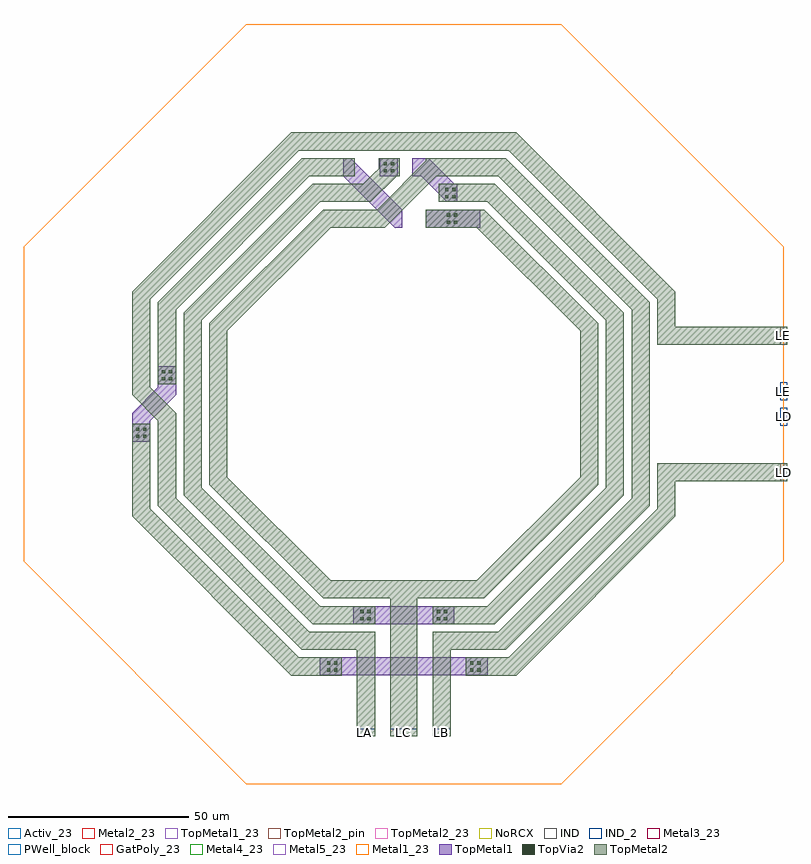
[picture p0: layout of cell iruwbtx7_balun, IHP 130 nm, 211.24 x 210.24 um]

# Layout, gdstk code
import gdstk
lib = gdstk.Library(unit=1e-6, precision=1e-09)
def R(c, l, rs):  # rectangles x0, y0, x1, y1
    for r in rs: c.add(gdstk.rectangle(r[:2], r[2:], *l))
def P(c, l, *ps):  # polygons
    for p in ps: c.add(gdstk.Polygon(p, *l))
Activ_23 = (1, 23)
GatPoly_23 = (5, 23)
Metal1_23 = (8, 23)
Metal2_23 = (10, 23)
IND = (27, 0)
IND_2 = (27, 2)
Metal3_23 = (30, 23)
PWell_block = (46, 21)
Metal4_23 = (50, 23)
Metal5_23 = (67, 23)
TopMetal1 = (126, 0)
TopMetal1_23 = (126, 23)
TopVia2 = (133, 0)
TopMetal2 = (134, 0)
TopMetal2_pin = (134, 2)
TopMetal2_23 = (134, 23)
NoRCX = (148, 0)

iruwbtx7_balun = lib.new_cell('iruwbtx7_balun')
P(iruwbtx7_balun, Activ_23, [(61.58,0),(0,61.58),(0,148.66),(61.58,210.24),(148.66,210.24),(210.24,148.66),(210.24,61.58),(148.66,0)])
P(iruwbtx7_balun, GatPoly_23, [(61.58,0),(0,61.58),(0,148.66),(61.58,210.24),(148.66,210.24),(210.24,148.66),(210.24,61.58),(148.66,0)])
P(iruwbtx7_balun, Metal1_23, [(61.58,0),(0,61.58),(0,148.66),(61.58,210.24),(148.66,210.24),(210.24,148.66),(210.24,61.58),(148.66,0)])
P(iruwbtx7_balun, Metal2_23, [(61.58,0),(0,61.58),(0,148.66),(61.58,210.24),(148.66,210.24),(210.24,148.66),(210.24,61.58),(148.66,0)])
P(iruwbtx7_balun, IND, [(61.58,0),(0,61.58),(0,148.66),(61.58,210.24),(148.66,210.24),(210.24,148.66),(210.24,61.58),(148.66,0)])
R(iruwbtx7_balun, IND_2, [(92.19,13.22,97.19,15.22), (101.39,13.22,108.89,15.22), (113.09,13.22,118.09,15.22), (209.24,99.07,211.24,104.07), (209.24,106.17,211.24,111.17)])
P(iruwbtx7_balun, Metal3_23, [(61.58,0),(0,61.58),(0,148.66),(61.58,210.24),(148.66,210.24),(210.24,148.66),(210.24,61.58),(148.66,0)])
P(iruwbtx7_balun, PWell_block, [(61.58,0),(0,61.58),(0,148.66),(61.58,210.24),(148.66,210.24),(210.24,148.66),(210.24,61.58),(148.66,0)])
P(iruwbtx7_balun, Metal4_23, [(61.58,0),(0,61.58),(0,148.66),(61.58,210.24),(148.66,210.24),(210.24,148.66),(210.24,61.58),(148.66,0)])
P(iruwbtx7_balun, Metal5_23, [(61.58,0),(0,61.58),(0,148.66),(61.58,210.24),(148.66,210.24),(210.24,148.66),(210.24,61.58),(148.66,0)])
R(iruwbtx7_balun, TopMetal1, [(81.96,30.02,128.31,35.02), (91.16,44.22,119.11,49.22), (111.245,153.9,126.245,158.9), (98.516,168.12,103.516,173.12), (107.44,168.12,111.808,173.12)])
P(iruwbtx7_balun, TopMetal1, [(102.59,153.9),(88.35,168.14),(88.35,173.12),(90.45,173.12),(104.67,158.9),(104.67,153.9)],
  [(30.02,94.645),(30.02,102.585),(37.14,109.705),(37.14,115.595),(42.14,115.595),(42.14,107.655),(35.02,100.535),(35.02,94.645)],
  [(117.05,161),(109.93,168.12),(109.04,168.12),(109.04,173.12),(112.01,173.12),(119.13,166),(119.99,166),(119.99,161)])
P(iruwbtx7_balun, TopMetal1_23, [(61.58,0),(0,61.58),(0,148.66),(61.58,210.24),(148.66,210.24),(210.24,148.66),(210.24,61.58),(148.66,0)])
R(iruwbtx7_balun, TopVia2, [(83.91,31.09,84.81,31.99), (85.87,31.09,86.77,31.99), (123.51,31.09,124.41,31.99), (125.47,31.09,126.37,31.99), (83.91,33.05,84.81,33.95), (85.87,33.05,86.77,33.95), (123.51,33.05,124.41,33.95), (125.47,33.05,126.37,33.95), (93.11,45.29,94.01,46.19), (95.07,45.29,95.97,46.19), (114.31,45.29,115.21,46.19), (116.27,45.29,117.17,46.19), (93.11,47.25,94.01,48.15), (95.07,47.25,95.97,48.15), (114.31,47.25,115.21,48.15), (116.27,47.25,117.17,48.15), (31.11,95.715,32.01,96.615), (33.07,95.715,33.97,96.615), (31.11,97.675,32.01,98.575), (33.07,97.675,33.97,98.575), (38.21,111.665,39.11,112.565), (40.17,111.665,41.07,112.565), (38.21,113.625,39.11,114.525), (40.17,113.625,41.07,114.525), (117.06,154.97,117.96,155.87), (119.02,154.97,119.92,155.87), (117.06,156.93,117.96,157.83), (119.02,156.93,119.92,157.83), (116.61,162.02,117.51,162.92), (118.57,162.02,119.47,162.92), (116.61,163.98,117.51,164.88), (118.57,163.98,119.47,164.88), (99.588,169.17,100.488,170.07), (101.548,169.17,102.448,170.07), (99.588,171.13,100.488,172.03), (101.548,171.13,102.448,172.03)])
R(iruwbtx7_balun, TopMetal2, [(100.54,51.32,109.74,56.32), (168.14,104.07,173.14,106.17), (84.065,153.9,99.065,158.9), (98.198,168.12,103.83,173.12), (111.192,168.12,115.56,173.12), (111.207,168.12,115.575,173.12)])
P(iruwbtx7_balun, TopMetal2, [(37.14,110.595),(37.14,133.295),(76.965,173.12),(91.53,173.12),(91.53,168.12),(79.045,168.12),(42.14,131.215),(42.14,110.595)],
  [(113.09,44.22),(113.09,49.22),(128.29,49.22),(161.04,81.97),(161.04,128.27),(128.29,161.02),(114.79,161.02),(114.79,166.02),(130.37,166.02),(166.04,130.35),(166.04,79.89),(130.37,44.22)],
  [(97.76,153.9),(97.76,158.9),(111.98,173.12),(114.08,173.12),(114.08,168.14),(99.84,153.9)],
  [(168.14,106.17),(168.14,131.215),(131.235,168.12),(112.625,168.12),(112.625,173.12),(133.315,173.12),(173.14,133.295),(173.14,106.17)],
  [(93.1,161.02),(93.1,166.02),(93.96,166.02),(101.06,173.12),(104.05,173.12),(104.05,168.14),(103.16,168.14),(96.04,161.02)],
  [(113.09,37.12),(113.09,42.12),(131.235,42.12),(168.14,79.025),(168.14,104.07),(173.14,104.07),(173.14,76.945),(133.315,37.12)],
  [(79.91,44.22),(44.24,79.89),(44.24,130.35),(79.91,166.02),(93.93,166.02),(93.93,161.02),(81.99,161.02),(49.24,128.27),(49.24,81.97),(81.99,49.22),(97.19,49.22),(97.19,44.22)],
  [(76.965,37.12),(37.14,76.945),(37.14,99.645),(42.14,99.645),(42.14,79.025),(79.045,42.12),(97.19,42.12),(97.19,37.12)],
  [(122.29,30.01),(122.29,35.01),(134.17,35.01),(175.24,76.08),(175.24,88.76),(180.24,88.76),(180.24,74),(136.25,30.01)],
  [(30.02,110.595),(30.02,136.24),(74.01,180.23),(136.25,180.23),(180.24,136.24),(180.24,121.48),(175.24,121.48),(175.24,134.16),(134.17,175.23),(76.09,175.23),(35.02,134.16),(35.02,110.595)],
  [(74.01,30.01),(30.02,74),(30.02,99.645),(35.02,99.645),(35.02,76.08),(76.09,35.01),(87.99,35.01),(87.99,30.01)],
  [(82.855,51.32),(51.35,82.825),(51.35,127.395),(82.855,158.9),(99.033,158.9),(99.033,153.9),(84.935,153.9),(56.35,125.315),(56.35,84.905),(84.935,56.32),(100.54,56.32),(100.54,51.32)],
  [(109.74,51.32),(109.74,56.32),(125.345,56.32),(153.93,84.905),(153.93,125.315),(125.345,153.9),(111.247,153.9),(111.247,158.9),(127.425,158.9),(158.93,127.395),(158.93,82.825),(127.425,51.32)],
  [(37.14,99.645),(37.14,100.535),(30.02,107.655),(30.02,110.595),(35.02,110.595),(35.02,109.735),(42.14,102.615),(42.14,99.645)])
R(iruwbtx7_balun, TopMetal2_pin, [(92.19,13.22,97.19,15.22), (101.39,13.22,108.89,15.22), (113.09,13.22,118.09,15.22), (209.24,83.76,211.24,88.76), (209.24,121.48,211.24,126.48)])
P(iruwbtx7_balun, TopMetal2_23, [(61.58,0),(0,61.58),(0,148.66),(61.58,210.24),(148.66,210.24),(210.24,148.66),(210.24,61.58),(148.66,0)])
P(iruwbtx7_balun, NoRCX, [(61.58,0),(0,61.58),(0,148.66),(61.58,210.24),(148.66,210.24),(210.24,148.66),(210.24,61.58),(148.66,0)])
iruwbtx7_balun.add(gdstk.FlexPath([(105.14,13.22),(105.14,56.32)], 7.5, ends="flush", simple_path=True, layer=134, datatype=0))  # TopMetal2
iruwbtx7_balun.add(gdstk.FlexPath([(94.69,13.22),(94.69,42.12)], 5, ends="flush", simple_path=True, layer=134, datatype=0))  # TopMetal2
iruwbtx7_balun.add(gdstk.FlexPath([(115.59,13.22),(115.59,42.12)], 5, ends="flush", simple_path=True, layer=134, datatype=0))  # TopMetal2
iruwbtx7_balun.add(gdstk.FlexPath([(211.24,86.26),(180.24,86.26)], 5, ends="flush", simple_path=True, layer=134, datatype=0))  # TopMetal2
iruwbtx7_balun.add(gdstk.FlexPath([(211.24,123.98),(180.24,123.98)], 5, ends="flush", simple_path=True, layer=134, datatype=0))  # TopMetal2
iruwbtx7_balun.add(gdstk.Label('LE', (210.24,108.67), layer=27, texttype=25))
iruwbtx7_balun.add(gdstk.Label('LD', (210.24,101.57), layer=27, texttype=25))
iruwbtx7_balun.add(gdstk.Label('LC', (105.14,14.22), layer=27, texttype=25))
iruwbtx7_balun.add(gdstk.Label('LA', (94.29,14.219), layer=27, texttype=25))
iruwbtx7_balun.add(gdstk.Label('LB', (115.59,14.219), layer=27, texttype=25))
iruwbtx7_balun.add(gdstk.Label('LB', (115.59,14.24), layer=134, texttype=25))
iruwbtx7_balun.add(gdstk.Label('LC', (105.14,14.241), layer=134, texttype=25))
iruwbtx7_balun.add(gdstk.Label('LA', (94.29,14.24), layer=134, texttype=25))
iruwbtx7_balun.add(gdstk.Label('LD', (210.24,86.26), layer=134, texttype=25))
iruwbtx7_balun.add(gdstk.Label('LE', (210.24,123.98), layer=134, texttype=25))

lib.write_gds('iruwbtx7_balun.gds')
